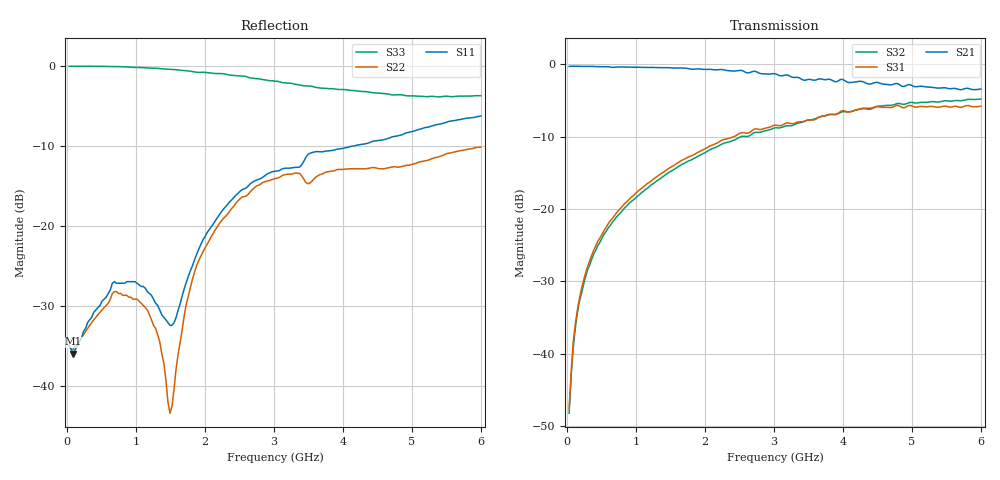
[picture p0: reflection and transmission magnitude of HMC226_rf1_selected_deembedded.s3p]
!Hittite Microwave Corporation
!12 Elizabeth Drive
!Chelmsford Massachusetts 01824
!Tel: 978 250-3343
!Fax: 978 250-3373
!Device: HMC226, DC - 2.0 GHz SP2T switch in SOT26 package
!Misc: Port 1 = RFC, Port 2 = RF1, Port 3 = RF2, RF1 Selected, Vctl= 0/+3VDC
# MHZ S MA R 50
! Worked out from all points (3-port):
!   201 points, 30 MHz to 6 GHz, reference 50 ohm
!   strongest paths, dB at 30 MHz, 1.522 GHz, 3.015 GHz, 4.508 GHz, 6 GHz:
!     S21: -0.3, -0.5, -1.3, -2.5, -3.4
!     S31: -47.6, -14.1, -8.4, -5.9, -5.8
!     S32: -48.3, -14.7, -8.8, -5.8, -4.8
!   lowest |S11| = -35.9 dB at 89.7 MHz (marker M1), VSWR 1.03, Z = 51.6 - j0.393 ohm
!   |S11| at or under -10 dB: start of sweep to 4.153 GHz
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30  0.018 -33.8  0.965 0.4  0.004178 106.3
    0.966 0.4  0.018 -33.2  0.00396 105.6
    0.004173 105.5  0.003866 105.2  0.995 -1.2
89.7  0.016 -13.8  0.972 -0.5  0.012 93.5
      0.971 -0.5  0.017 -9.6  0.011 93.7
      0.012 93.8  0.011 93.7  0.996 -3.5
358.35  0.027 -26.5  0.967 -1.8  0.049 87.3
        0.967 -2.0  0.025 -18.0  0.046 86.9
        0.048 87.5  0.045 87.0  0.996 -13.8
1015.05  0.044 -65.5  0.954 -4.1  0.136 82.7
         0.955 -4.2  0.035 -52.6  0.127 81.7
         0.131 82.1  0.122 81.1  0.98 -36.6
1343.4  0.03 -98.8  0.948 -5.3  0.176 77.9
        0.948 -5.5  0.019 -72.1  0.164 76.9
        0.173 80.6  0.161 79.6  0.963 -46.8
1492.65  0.024 -135.6  0.946 -6.1  0.2 80.9
         0.946 -6.2  0.006781 -137.3  0.187 79.9
         0.193 79.6  0.181 78.6  0.954 -51.6
1910.55  0.072 138.0  0.929 -7.6  0.239 79.8
         0.931 -8.0  0.061 120.5  0.224 78.6
         0.248 76.5  0.233 75.2  0.911 -65.9
3015  0.22 111.9  0.861 -13.0  0.375 70.3
      0.861 -13.2  0.198 99.9  0.361 68.9
      0.38 63.3  0.364 61.9  0.803 -118.7
4179.15  0.318 92.7  0.755 -13.1  0.49 52.7
         0.756 -12.5  0.228 92.6  0.488 49.5
         0.482 54.1  0.481 50.5  0.701 -170.1
6000  0.487 55.9  0.671 -13.1  0.51 33.3
      0.676 -12.6  0.311 84.5  0.574 26.8
      0.514 34.5  0.576 27.7  0.652 128.4
